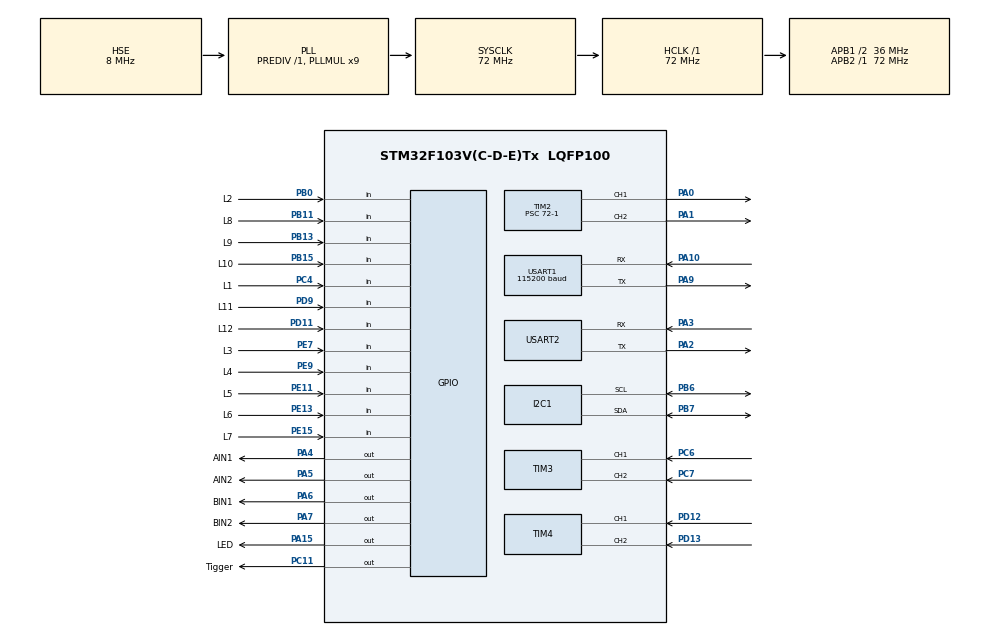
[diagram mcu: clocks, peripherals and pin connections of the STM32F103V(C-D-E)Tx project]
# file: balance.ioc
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Dma.Request0=USART2_RX
Dma.Request1=USART2_TX
Dma.Request2=USART1_RX
Dma.Request3=USART1_TX
Dma.USART1_RX.2.Direction=DMA_PERIPH_TO_MEMORY
Dma.USART1_RX.2.Instance=DMA1_Channel5
Dma.USART1_RX.2.MemDataAlignment=DMA_MDATAALIGN_BYTE
Dma.USART1_RX.2.MemInc=DMA_MINC_ENABLE
Dma.USART1_RX.2.Mode=DMA_NORMAL
Dma.USART1_RX.2.PeriphDataAlignment=DMA_PDATAALIGN_BYTE
Dma.USART1_RX.2.PeriphInc=DMA_PINC_DISABLE
Dma.USART1_RX.2.Priority=DMA_PRIORITY_LOW
Dma.USART1_TX.3.Direction=DMA_MEMORY_TO_PERIPH
Dma.USART1_TX.3.Instance=DMA1_Channel4
Dma.USART1_TX.3.MemDataAlignment=DMA_MDATAALIGN_BYTE
Dma.USART1_TX.3.MemInc=DMA_MINC_ENABLE
Dma.USART1_TX.3.Mode=DMA_NORMAL
Dma.USART1_TX.3.PeriphDataAlignment=DMA_PDATAALIGN_BYTE
Dma.USART1_TX.3.PeriphInc=DMA_PINC_DISABLE
Dma.USART1_TX.3.Priority=DMA_PRIORITY_LOW
Dma.USART2_RX.0.Direction=DMA_PERIPH_TO_MEMORY
Dma.USART2_RX.0.Instance=DMA1_Channel6
Dma.USART2_RX.0.MemDataAlignment=DMA_MDATAALIGN_BYTE
Dma.USART2_RX.0.MemInc=DMA_MINC_ENABLE
Dma.USART2_RX.0.Mode=DMA_NORMAL
Dma.USART2_RX.0.PeriphDataAlignment=DMA_PDATAALIGN_BYTE
Dma.USART2_RX.0.PeriphInc=DMA_PINC_DISABLE
Dma.USART2_RX.0.Priority=DMA_PRIORITY_LOW
Dma.USART2_TX.1.Direction=DMA_MEMORY_TO_PERIPH
Dma.USART2_TX.1.Instance=DMA1_Channel7
Dma.USART2_TX.1.MemDataAlignment=DMA_MDATAALIGN_BYTE
Dma.USART2_TX.1.MemInc=DMA_MINC_ENABLE
Dma.USART2_TX.1.Mode=DMA_NORMAL
Dma.USART2_TX.1.PeriphDataAlignment=DMA_PDATAALIGN_BYTE
Dma.USART2_TX.1.PeriphInc=DMA_PINC_DISABLE
Dma.USART2_TX.1.Priority=DMA_PRIORITY_LOW
Mcu.Family=STM32F1
Mcu.Name=STM32F103V(C-D-E)Tx
Mcu.Package=LQFP100
NVIC.DMA1_Channel4_IRQn=true\:0\:0\:false\:false\:true\:false\:true\:true
NVIC.DMA1_Channel5_IRQn=true\:0\:0\:false\:false\:true\:false\:true\:true
NVIC.DMA1_Channel6_IRQn=true\:0\:0\:false\:false\:true\:false\:true\:true
NVIC.DMA1_Channel7_IRQn=true\:0\:0\:false\:false\:true\:false\:true\:true
NVIC.PriorityGroup=NVIC_PRIORITYGROUP_4
NVIC.TIM6_IRQn=true\:0\:0\:false\:false\:true\:true\:true\:true
NVIC.USART1_IRQn=true\:0\:0\:false\:false\:true\:false\:true\:true
NVIC.USART2_IRQn=true\:0\:0\:false\:false\:true\:false\:true\:true
OSC_IN.Mode=HSE-External-Oscillator
OSC_IN.Signal=RCC_OSC_IN
OSC_OUT.Mode=HSE-External-Oscillator
OSC_OUT.Signal=RCC_OSC_OUT
PA0-WKUP.Signal=S_TIM2_CH1_ETR
PA1.Signal=S_TIM2_CH2
PA10.Mode=Asynchronous
PA10.Signal=USART1_RX
PA13.Mode=Serial_Wire
PA13.Signal=SYS_JTMS-SWDIO
PA14.Mode=Serial_Wire
PA14.Signal=SYS_JTCK-SWCLK
PA15.GPIO_Label=LED
PA15.PinState=GPIO_PIN_SET
PA15.Signal=GPIO_Output
PA2.Mode=Asynchronous
PA2.Signal=USART2_TX
PA3.Mode=Asynchronous
PA3.Signal=USART2_RX
PA4.GPIO_Label=AIN1
PA4.Signal=GPIO_Output
PA5.GPIO_Label=AIN2
PA5.Signal=GPIO_Output
PA6.GPIO_Label=BIN1
PA6.Signal=GPIO_Output
PA7.GPIO_Label=BIN2
PA7.Signal=GPIO_Output
PA9.Mode=Asynchronous
PA9.Signal=USART1_TX
PB0.GPIO_Label=L2
PB0.GPIO_PuPd=GPIO_PULLUP
PB0.Signal=GPIO_Input
PB11.GPIO_Label=L8
PB11.GPIO_PuPd=GPIO_PULLUP
PB11.Signal=GPIO_Input
PB13.GPIO_Label=L9
PB13.GPIO_PuPd=GPIO_PULLUP
PB13.Signal=GPIO_Input
PB15.GPIO_Label=L10
PB15.GPIO_PuPd=GPIO_PULLUP
PB15.Signal=GPIO_Input
PB6.Mode=I2C
PB6.Signal=I2C1_SCL
PB7.Mode=I2C
PB7.Signal=I2C1_SDA
PC11.GPIO_Label=Tigger
PC11.GPIO_Speed=GPIO_SPEED_FREQ_HIGH
PC11.Signal=GPIO_Output
PC4.GPIO_Label=L1
PC4.GPIO_PuPd=GPIO_PULLUP
PC4.Signal=GPIO_Input
PC6.Signal=S_TIM3_CH1
PC7.Signal=S_TIM3_CH2
PD11.GPIO_Label=L12
PD11.GPIO_PuPd=GPIO_PULLUP
PD11.Signal=GPIO_Input
PD12.Signal=S_TIM4_CH1
PD13.Signal=S_TIM4_CH2
PD9.GPIO_Label=L11
PD9.GPIO_PuPd=GPIO_PULLUP
PD9.Signal=GPIO_Input
PE11.GPIO_Label=L5
PE11.GPIO_PuPd=GPIO_PULLUP
PE11.Signal=GPIO_Input
PE13.GPIO_Label=L6
PE13.GPIO_PuPd=GPIO_PULLUP
PE13.Signal=GPIO_Input
PE15.GPIO_Label=L7
PE15.GPIO_PuPd=GPIO_PULLUP
PE15.Signal=GPIO_Input
PE7.GPIO_Label=L3
PE7.GPIO_PuPd=GPIO_PULLUP
PE7.Signal=GPIO_Input
PE9.GPIO_Label=L4
PE9.GPIO_PuPd=GPIO_PULLUP
PE9.Signal=GPIO_Input
ProjectManager.HeapSize=0x200
ProjectManager.StackSize=0x400
ProjectManager.TargetToolchain=MDK-ARM V5.32
RCC.AHBFreq_Value=72000000
RCC.APB1CLKDivider=RCC_HCLK_DIV2
RCC.APB1Freq_Value=36000000
RCC.APB1TimFreq_Value=72000000
RCC.APB2Freq_Value=72000000
RCC.APB2TimFreq_Value=72000000
RCC.HCLKFreq_Value=72000000
RCC.PLLMUL=RCC_PLL_MUL9
RCC.PLLSourceVirtual=RCC_PLLSOURCE_HSE
RCC.SYSCLKFreq_VALUE=72000000
RCC.SYSCLKSource=RCC_SYSCLKSOURCE_PLLCLK
RCC.USBFreq_Value=72000000
SH.S_TIM2_CH1_ETR.0=TIM2_CH1,PWM Generation1 CH1
SH.S_TIM2_CH2.0=TIM2_CH2,PWM Generation2 CH2
SH.S_TIM3_CH1.0=TIM3_CH1,Encoder_Interface
SH.S_TIM3_CH2.0=TIM3_CH2,Encoder_Interface
SH.S_TIM4_CH1.0=TIM4_CH1,Encoder_Interface
SH.S_TIM4_CH2.0=TIM4_CH2,Encoder_Interface
TIM2.Channel-PWM\ Generation1\ CH1=TIM_CHANNEL_1
TIM2.Channel-PWM\ Generation2\ CH2=TIM_CHANNEL_2
TIM2.Period=1000-1
TIM2.Prescaler=72-1
TIM3.EncoderMode=TIM_ENCODERMODE_TI12
TIM3.IC1Filter=6
TIM3.IC2Filter=6
TIM4.EncoderMode=TIM_ENCODERMODE_TI12
TIM4.IC1Filter=6
TIM4.IC2Filter=6
TIM6.Period=50-1
TIM6.Prescaler=7200-1
USART1.BaudRate=115200
USART1.VirtualMode=VM_ASYNC
USART2.VirtualMode=VM_ASYNC
VP_TIM6_VS_ClockSourceINT.Mode=Enable_Timer
board=custom

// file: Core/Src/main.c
/* USER CODE BEGIN Header */
/**
  ******************************************************************************
  * @file           : main.c
  * @brief          : Main program body
  ******************************************************************************
  * @attention
  *
  * Copyright (c) 2025 STMicroelectronics.
  * All rights reserved.
  *
  * This software is licensed under terms that can be found in the LICENSE file
  * in the root directory of this software component.
  * If no LICENSE file comes with this software, it is provided AS-IS.
  *
  ******************************************************************************
  */
/* USER CODE END Header */
#include "main.h"
#include "dma.h"
#include "i2c.h"
#include "tim.h"
#include "usart.h"
#include "gpio.h"

/* USER CODE BEGIN Includes */
#include "jy901s.h"
#include "motor.h"
#include "pid.h"
#include "oled.h"
#include "font.h"
#include "stdio.h"
#include "string.h"
#include "dmpmap.h"
#include "inv_mpu.h"
#include "inv_mpu_dmp_motion_driver.h"
#include "mpu6050.h"
#include "vofa.h"
#include <stdlib.h>

/* USER CODE END Includes */

/* USER CODE BEGIN PV */
short encoder_L = 0;
short encoder_R = 0;

float L_Speed = 0.0;
float R_Speed = 0.0;

float L_target = 0.0;
float R_target = 0.0;

PID Lspeed;
PID Rspeed;
PID Angle;
PID up;
PID turn;

car_state state;

char data_string[80];

int Key = 0;
float cnt = 35;
float Temp = 0;
int Temp2 = 0;
/* USER CODE END PV */

void SystemClock_Config(void);

/* USER CODE BEGIN 0 */
void HAL_TIM_PeriodElapsedCallback(TIM_HandleTypeDef *htim)
{
	if(htim == &htim6)
	{
		encoder_L = (short)__HAL_TIM_GET_COUNTER(&htim3);
		encoder_R = -(short)__HAL_TIM_GET_COUNTER(&htim4);
		__HAL_TIM_SET_COUNTER(&htim3,0);
		__HAL_TIM_SET_COUNTER(&htim4,0);
		L_Speed = encoder_L;
		R_Speed = encoder_R;

		mpu_dmp_get_data(&Ux,&Uy,&Uz);
		if(state == go_on)
		{
			angle_pid(L_Speed, R_Speed,15);
			L_target = pid_figure(&up) - pid_figure(&turn);
			R_target = pid_figure(&up) + pid_figure(&turn);
			Load(pid_figure(&Lspeed),pid_figure(&Rspeed));
		}
		else if(state == find_black)
		{
			angle_pid(L_Speed, R_Speed,20);
			truck_pid();
			L_target = pid_figure(&up) - truck_result;
			R_target = pid_figure(&up) + truck_result;
			Load(pid_figure(&Lspeed),pid_figure(&Rspeed));
		}
		else if(state == control)
		{
			if(Temp2 == 0)
			{
				Temp2++;
				cnt = 0;
			}

			angle_pid(L_Speed, R_Speed,Temp);
			L_target = pid_figure(&up) - cnt;
			R_target = pid_figure(&up) + cnt;
			Load(pid_figure(&Lspeed),pid_figure(&Rspeed));
		}

	}
}

/* USER CODE END 0 */

int main(void)
{

  /* MCU Configuration--------------------------------------------------------*/

  /* Reset of all peripherals, Initializes the Flash interface and the Systick. */
  HAL_Init();

  /* Configure the system clock */
  SystemClock_Config();

  /* Initialize all configured peripherals */
  MX_GPIO_Init();
  MX_DMA_Init();
  MX_I2C1_Init();
  MX_TIM2_Init();
  MX_USART1_UART_Init();
  MX_USART2_UART_Init();
  MX_TIM3_Init();
  MX_TIM6_Init();
  MX_TIM4_Init();
  /* USER CODE BEGIN 2 */
	state = go_on;
	/*HAL_Delay(5);
	OLED_Init();
	sprintf(data_string,"hellow");
	OLED_PrintString(0,0,data_string,&font16x16,OLED_COLOR_NORMAL);*/

  HAL_TIM_PWM_Start(&htim2,TIM_CHANNEL_1);
  HAL_TIM_PWM_Start(&htim2,TIM_CHANNEL_2);

  HAL_UARTEx_ReceiveToIdle_DMA(&huart1, data, sizeof(data));
  __HAL_DMA_DISABLE_IT(&hdma_usart1_rx, DMA_IT_HT);

	HAL_UARTEx_ReceiveToIdle_DMA(&huart2, data2, sizeof(data2));
	__HAL_DMA_DISABLE_IT(&hdma_usart2_rx, DMA_IT_HT);

	HAL_TIM_Encoder_Start(&htim3, TIM_CHANNEL_ALL);
	HAL_TIM_Encoder_Start(&htim4, TIM_CHANNEL_ALL);

	PID_Init(&Lspeed,62.19,11.46,0,increment,discrete);
	PID_Init(&Rspeed,62.19,11.46,0,increment,discrete);
	Lspeed.actuall = &L_Speed;
	Lspeed.target = &L_target;
	Rspeed.actuall = &R_Speed;
	Rspeed.target = &R_target;

	PID_Init(&up,0.79,0.01,-0.62,position,discrete);
	up.actuall = &Uy;
	up.target = &angle_result;

	PID_Init(&turn,0.47,0,0.64,position,discrete);
	turn.actuall = &Uz;
	turn.target = &cnt;

	MPU_Init();
	mpu_dmp_init();

	HAL_TIM_Base_Start_IT(&htim6);

	//Load(500,500);

  /* USER CODE END 2 */

  /* Infinite loop */
  /* USER CODE BEGIN WHILE */
  while (1)
  {
		if(!GET_LINE_SENSORS() && abs(Uz) <= 30 && state != control)
		{
			state = go_on;
		}
		else if((GET_LINE_SENSORS() || abs(Uz) > 30) &&  state != control)
		{
			state = find_black;
		}

    /* USER CODE END WHILE */

  }
}

void SystemClock_Config(void)
{
  RCC_OscInitTypeDef RCC_OscInitStruct = {0};
  RCC_ClkInitTypeDef RCC_ClkInitStruct = {0};

  /** Initializes the RCC Oscillators according to the specified parameters
  * in the RCC_OscInitTypeDef structure.
  */
  RCC_OscInitStruct.OscillatorType = RCC_OSCILLATORTYPE_HSE;
  RCC_OscInitStruct.HSEState = RCC_HSE_ON;
  RCC_OscInitStruct.HSEPredivValue = RCC_HSE_PREDIV_DIV1;
  RCC_OscInitStruct.HSIState = RCC_HSI_ON;
  RCC_OscInitStruct.PLL.PLLState = RCC_PLL_ON;
  RCC_OscInitStruct.PLL.PLLSource = RCC_PLLSOURCE_HSE;
  RCC_OscInitStruct.PLL.PLLMUL = RCC_PLL_MUL9;
  if (HAL_RCC_OscConfig(&RCC_OscInitStruct) != HAL_OK)
  {
    Error_Handler();
  }

  /** Initializes the CPU, AHB and APB buses clocks
  */
  RCC_ClkInitStruct.ClockType = RCC_CLOCKTYPE_HCLK|RCC_CLOCKTYPE_SYSCLK
                              |RCC_CLOCKTYPE_PCLK1|RCC_CLOCKTYPE_PCLK2;
  RCC_ClkInitStruct.SYSCLKSource = RCC_SYSCLKSOURCE_PLLCLK;
  RCC_ClkInitStruct.AHBCLKDivider = RCC_SYSCLK_DIV1;
  RCC_ClkInitStruct.APB1CLKDivider = RCC_HCLK_DIV2;
  RCC_ClkInitStruct.APB2CLKDivider = RCC_HCLK_DIV1;

  if (HAL_RCC_ClockConfig(&RCC_ClkInitStruct, FLASH_LATENCY_2) != HAL_OK)
  {
    Error_Handler();
  }
}

void Error_Handler(void)
{
  __disable_irq();
  while (1)
  {
  }
}
